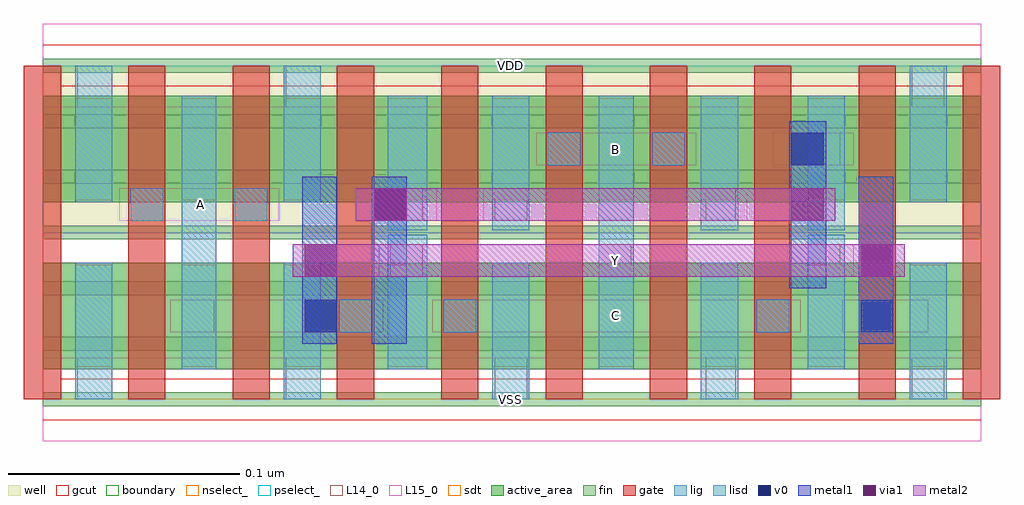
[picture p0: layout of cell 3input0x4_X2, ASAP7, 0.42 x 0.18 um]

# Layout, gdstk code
import gdstk
lib = gdstk.Library(unit=1e-6, precision=1e-09)
def R(c, l, rs):  # rectangles x0, y0, x1, y1
    for r in rs: c.add(gdstk.rectangle(r[:2], r[2:], *l))
def A(c, l, x, y, w, h, nx, ny, dx, dy):  # array of equal rectangles
    R(c, l, [(x+i*dx, y+j*dy, x+i*dx+w, y+j*dy+h) for i in range(nx) for j in range(ny)])
def P(c, l, *ps):  # polygons
    for p in ps: c.add(gdstk.Polygon(p, *l))
well = (1, 0)
fin = (2, 0)
gate = (7, 0)
gcut = (10, 0)
active_area = (11, 0)
nselect_ = (12, 0)
pselect_ = (13, 0)
L14_0 = (14, 0)
L15_0 = (15, 0)
lig = (16, 0)
lisd = (17, 0)
v0 = (18, 0)
metal1 = (19, 0)
metal2 = (20, 0)
via1 = (21, 0)
sdt = (88, 0)
boundary = (100, 0)

c_3input0x4_x2 = lib.new_cell('3input0x4_X2')
R(c_3input0x4_x2, well, [(0,0.072,0.405,0.144)])
A(c_3input0x4_x2, fin, 0, -0.003, 0.405, 0.006, 1, 7, 0, 0.024)
A(c_3input0x4_x2, gate, -0.008, 0, 0.016, 0.144, 10, 1, 0.045, 0)
P(c_3input0x4_x2, gcut, [(0,-0.009),(0,0),(-0.008,0),(-0.008,0.135),(0.008,0.135),(0.008,0.009),(0.397,0.009),(0.397,0.135),(-0.008,0.135),(-0.008,0.144),(0,0.144),(0,0.153),(0.405,0.153),(0.405,0.144),(0.413,0.144),(0.413,0),(0.405,0),(0.405,-0.009)])
R(c_3input0x4_x2, active_area, [(0,0.013,0.405,0.059), (0,0.085,0.405,0.131)])
R(c_3input0x4_x2, nselect_, [(0,0,0.405,0.072)])
R(c_3input0x4_x2, pselect_, [(0,0.072,0.405,0.144)])
A(c_3input0x4_x2, L14_0, 0.15, 0.053, 0.014, 0.014, 3, 1, 0.09, 0)
R(c_3input0x4_x2, L14_0, [(0.015,0,0.03,0.018), (0.105,0,0.12,0.018), (0.195,0,0.209,0.018), (0.286,0,0.299,0.018), (0.375,0,0.389,0.018), (0.06,0.029,0.074,0.043), (0.128,0.029,0.142,0.043), (0.173,0.029,0.187,0.043), (0.308,0.029,0.322,0.043), (0.353,0.029,0.367,0.043), (0.038,0.077,0.052,0.091), (0.083,0.077,0.097,0.091), (0.15,0.077,0.164,0.091), (0.195,0.077,0.209,0.091), (0.286,0.077,0.299,0.091), (0.218,0.101,0.232,0.115), (0.263,0.101,0.277,0.115), (0.33,0.101,0.344,0.115), (0.015,0.126,0.03,0.144), (0.105,0.126,0.12,0.144), (0.375,0.126,0.389,0.144)])
R(c_3input0x4_x2, L15_0, [(0,-0.018,0.405,0.018), (0.055,0.029,0.147,0.043), (0.168,0.029,0.327,0.043), (0.345,0.029,0.382,0.043), (0.145,0.053,0.35,0.067), (0.033,0.077,0.102,0.091), (0.135,0.077,0.17,0.091), (0.19,0.077,0.304,0.091), (0.213,0.101,0.282,0.115), (0.315,0.101,0.35,0.115), (0,0.126,0.405,0.162)])
R(c_3input0x4_x2, lig, [(0.128,0.029,0.142,0.043), (0.173,0.029,0.187,0.043), (0.308,0.029,0.322,0.043), (0.353,0.029,0.367,0.043), (0.038,0.077,0.052,0.091), (0.083,0.077,0.097,0.091), (0.218,0.101,0.232,0.115), (0.263,0.101,0.277,0.115)])
A(c_3input0x4_x2, lisd, 0.014, 0, 0.016, 0.059, 5, 1, 0.09, 0)
R(c_3input0x4_x2, lisd, [(0.06,0.013,0.075,0.131), (0.149,0.013,0.166,0.071), (0.24,0.013,0.255,0.131), (0.33,0.013,0.346,0.071), (0.149,0.073,0.166,0.131), (0.194,0.073,0.21,0.131), (0.284,0.073,0.3,0.131), (0.33,0.073,0.346,0.131), (0.014,0.085,0.03,0.144), (0.104,0.085,0.12,0.144), (0.374,0.085,0.39,0.144)])
R(c_3input0x4_x2, v0, [(0.113,0.029,0.127,0.043), (0.353,0.029,0.367,0.043), (0.143,0.077,0.157,0.091), (0.323,0.101,0.337,0.115)])
R(c_3input0x4_x2, metal1, [(0.112,0.024,0.127,0.096), (0.142,0.024,0.157,0.096), (0.352,0.024,0.367,0.096), (0.322,0.048,0.338,0.12)])
R(c_3input0x4_x2, metal2, [(0.108,0.053,0.372,0.067), (0.135,0.077,0.342,0.091)])
R(c_3input0x4_x2, via1, [(0.113,0.053,0.127,0.067), (0.353,0.053,0.367,0.067), (0.143,0.077,0.157,0.091), (0.323,0.077,0.337,0.091)])
A(c_3input0x4_x2, sdt, 0.014, 0.014, 0.016, 0.044, 4, 2, 0.09, 0.072)
R(c_3input0x4_x2, sdt, [(0.06,0.014,0.075,0.058), (0.149,0.014,0.166,0.058), (0.24,0.014,0.255,0.058), (0.33,0.014,0.346,0.058), (0.374,0.014,0.39,0.058), (0.06,0.086,0.075,0.13), (0.149,0.086,0.166,0.13), (0.24,0.086,0.255,0.13), (0.33,0.086,0.346,0.13), (0.374,0.086,0.39,0.13)])
R(c_3input0x4_x2, boundary, [(0,0,0.405,0.144)])
c_3input0x4_x2.add(gdstk.Label('B', (0.247,0.108), layer=15, texttype=251))
c_3input0x4_x2.add(gdstk.Label('VSS', (0.202,0), layer=15, texttype=251))
c_3input0x4_x2.add(gdstk.Label('VDD', (0.202,0.144), layer=15, texttype=251))
c_3input0x4_x2.add(gdstk.Label('A', (0.068,0.084), layer=15, texttype=251))
c_3input0x4_x2.add(gdstk.Label('VSS', (0.202,0), layer=15, texttype=251))
c_3input0x4_x2.add(gdstk.Label('VDD', (0.202,0.144), layer=15, texttype=251))
c_3input0x4_x2.add(gdstk.Label('C', (0.247,0.036), layer=15, texttype=251))
c_3input0x4_x2.add(gdstk.Label('VSS', (0.202,0), layer=15, texttype=251))
c_3input0x4_x2.add(gdstk.Label('VDD', (0.202,0.144), layer=15, texttype=251))
c_3input0x4_x2.add(gdstk.Label('Y', (0.247,0.06), layer=15, texttype=251))
c_3input0x4_x2.add(gdstk.Label('VSS', (0.202,0), layer=15, texttype=251))
c_3input0x4_x2.add(gdstk.Label('VDD', (0.202,0.144), layer=15, texttype=251))
c_3input0x4_x2.add(gdstk.Label('VSS', (0.202,0), layer=3, texttype=251))
c_3input0x4_x2.add(gdstk.Label('VSS', (0.202,0), layer=3, texttype=251))
c_3input0x4_x2.add(gdstk.Label('VSS', (0.202,0), layer=3, texttype=251))
c_3input0x4_x2.add(gdstk.Label('VSS', (0.202,0), layer=3, texttype=251))
c_3input0x4_x2.add(gdstk.Label('VDD', (0.202,0.144), layer=1, texttype=251))
c_3input0x4_x2.add(gdstk.Label('VDD', (0.202,0.144), layer=1, texttype=251))
c_3input0x4_x2.add(gdstk.Label('VDD', (0.202,0.144), layer=1, texttype=251))
c_3input0x4_x2.add(gdstk.Label('VDD', (0.202,0.144), layer=1, texttype=251))

lib.write_gds('3input0x4_X2.gds')
